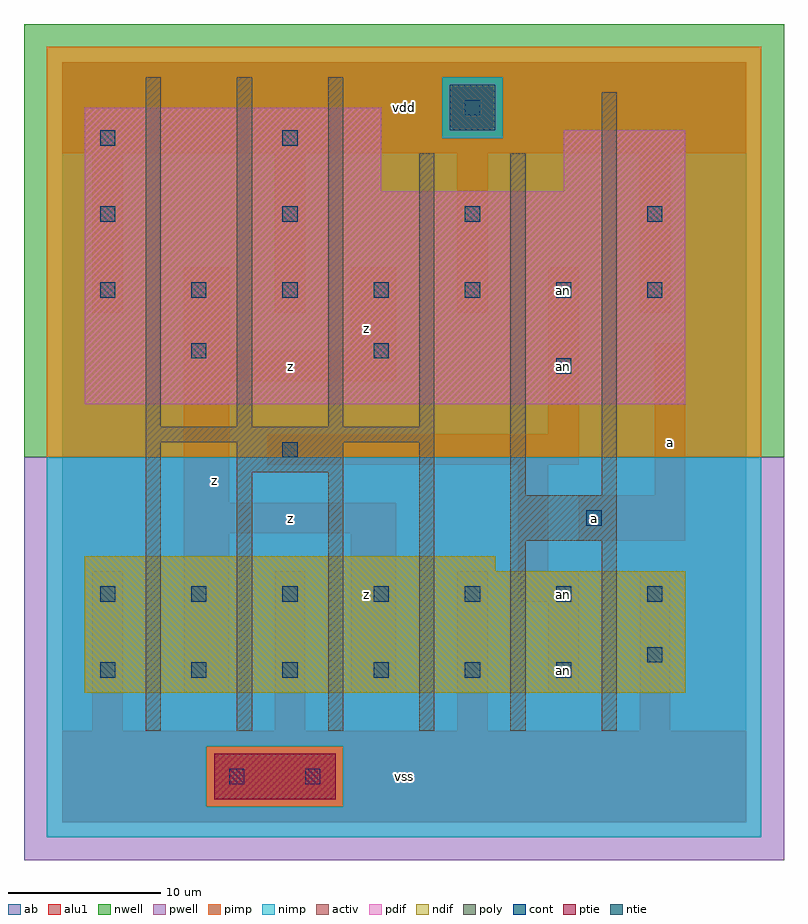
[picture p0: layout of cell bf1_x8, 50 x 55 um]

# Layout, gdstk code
import gdstk
lib = gdstk.Library(unit=1e-6, precision=1e-09)
def R(c, l, rs):  # rectangles x0, y0, x1, y1
    for r in rs: c.add(gdstk.rectangle(r[:2], r[2:], *l))
def A(c, l, x, y, w, h, nx, ny, dx, dy):  # array of equal rectangles
    R(c, l, [(x+i*dx, y+j*dy, x+i*dx+w, y+j*dy+h) for i in range(nx) for j in range(ny)])
ndif = (3, 0)
pdif = (4, 0)
ntie = (5, 0)
ptie = (6, 0)
cont = (25, 0)
pwell = (41, 0)
nwell = (42, 0)
activ = (43, 0)
pimp = (44, 0)
nimp = (45, 0)
poly = (46, 0)
alu1 = (49, 0)
ab = (63, 0)

bf1_x8 = lib.new_cell('bf1_x8')
R(bf1_x8, ndif, [(1.5,8.5,41,16.5), (1.5,16.5,28.5,17.5)])
R(bf1_x8, pdif, [(1.5,27.5,41,41.5), (1.5,41.5,21,47), (33,41.5,41,45.5)])
R(bf1_x8, ntie, [(25.5,45.5,28.5,48.5)])
R(bf1_x8, ptie, [(10,1.5,18,4.5)])
A(bf1_x8, cont, 2.5, 9.5, 1, 1, 6, 1, 6, 0)
A(bf1_x8, cont, 2.5, 14.5, 1, 1, 7, 2, 6, 20)
A(bf1_x8, cont, 2.5, 39.5, 1, 1, 4, 1, 12, 0)
R(bf1_x8, cont, [(11,2.5,12,3.5), (16,2.5,17,3.5), (38.5,10.5,39.5,11.5), (34.5,19.5,35.5,20.5), (14.5,24,15.5,25), (32.5,29.5,33.5,30.5), (8.5,30.5,9.5,31.5), (20.5,30.5,21.5,31.5), (2.5,44.5,3.5,45.5), (14.5,44.5,15.5,45.5), (26.5,46.5,27.5,47.5)])
R(bf1_x8, pwell, [(-2.5,-2.5,47.5,24)])
R(bf1_x8, nwell, [(-2.5,24,47.5,52.5)])
R(bf1_x8, activ, [(10,1.5,18,4.5), (1.5,8.5,41,16.5), (1.5,16.5,28.5,17.5), (1.5,27.5,41,41.5), (1.5,41.5,21,47), (33,41.5,41,45.5), (25.5,45.5,28.5,48.5)])
R(bf1_x8, pimp, [(9.5,1,18.5,5), (-1,24,46,45), (-1,45,25,49), (29,45,46,49), (-1,49,46,51)])
R(bf1_x8, nimp, [(-1,-1,46,1), (-1,1,9.5,5), (18.5,1,46,5), (-1,5,46,24), (25,45,29,49)])
A(bf1_x8, poly, 5.5, 26, 1, 23, 3, 1, 6, 0)
R(bf1_x8, poly, [(5.5,6,6.5,25), (11.5,6,12.5,23), (17.5,6,18.5,23), (23.5,6,24.5,25), (29.5,6,30.5,18.5), (35.5,6,36.5,18.5), (29.5,18.5,36.5,21.5), (29.5,21.5,30.5,44), (35.5,21.5,36.5,48), (11.5,23,18.5,25), (5.5,25,24.5,26), (23.5,26,24.5,44)])
R(bf1_x8, alu1, [(0,0,45,6), (0,0,45,6), (2,6,4,16.5), (2,6,4,16.5), (14,6,16,16.5), (14,6,16,16.5), (26,6,28,16.5), (26,6,28,16.5), (38,6,40,16.5), (38,6,40,16.5), (8,8.5,11,19), (8,8.5,11,19), (19,8.5,22,19), (19,8.5,22,19), (32,8.5,34,14.5), (32,8.5,34,14.5), (30,14.5,34,16.5), (30,14.5,34,16.5), (30,16.5,32,23.5), (30,16.5,32,23.5), (34,18.5,41,21.5), (34,18.5,41,21.5), (8,19,22,21), (8,19,22,21), (8,21,11,29), (8,21,11,29), (39,21.5,41,31.5), (39,21.5,41,31.5), (13.5,23.5,34,25.5), (13.5,23.5,34,25.5), (32,25.5,34,36.5), (32,25.5,34,36.5), (8,29,22,31), (8,29,22,31), (8,31,11,36.5), (8,31,11,36.5), (19,31,22,36.5), (19,31,22,36.5), (2,33.5,4,44), (2,33.5,4,44), (14,33.5,16,44), (14,33.5,16,44), (26,33.5,28,44), (26,33.5,28,44), (38,33.5,40,44), (38,33.5,40,44), (0,44,45,50), (0,44,45,50)])
R(bf1_x8, ab, [(0,0,45,50)])
bf1_x8.add(gdstk.Label('an', (33,10), layer=49, texttype=0))
bf1_x8.add(gdstk.Label('an', (33,15), layer=49, texttype=0))
bf1_x8.add(gdstk.Label('an', (33,30), layer=49, texttype=0))
bf1_x8.add(gdstk.Label('an', (33,35), layer=49, texttype=0))
bf1_x8.add(gdstk.Label('z', (10,22.5), layer=49, texttype=0))
bf1_x8.add(gdstk.Label('z', (15,20), layer=49, texttype=0))
bf1_x8.add(gdstk.Label('z', (20,15), layer=49, texttype=0))
bf1_x8.add(gdstk.Label('z', (20,32.5), layer=49, texttype=0))
bf1_x8.add(gdstk.Label('z', (15,30), layer=49, texttype=0))
bf1_x8.add(gdstk.Label('vss', (22.5,3), layer=49, texttype=0))
bf1_x8.add(gdstk.Label('vdd', (22.5,47), layer=49, texttype=0))
bf1_x8.add(gdstk.Label('a', (35,20), layer=49, texttype=0))
bf1_x8.add(gdstk.Label('a', (40,25), layer=49, texttype=0))

lib.write_gds('bf1_x8.gds')
